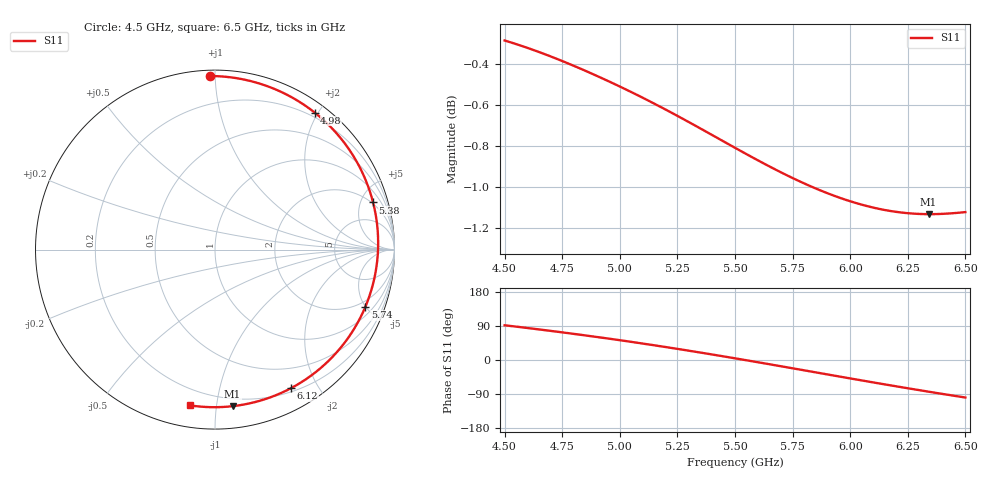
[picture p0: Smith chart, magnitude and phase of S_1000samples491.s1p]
! TOUCHSTONE file generated by CST MICROWAVE STUDIO
! Date and time: Fri Oct 28 08:32:47 2022
! Project name: L.cst
! Parameters = {Di=1.27; Epsilon_r=1.56; InnerDiameter=1.27; Length=2; Lf=10; Lg=60; OuterConductorThickness=0.2921; OuterDiameter=3.6; Wf=3; Wp=41.2; de=1.5; df=6.8; g=0.8; gx=4.95222; gy=2.29025; h=2.34; hf=1.524; px=8.59053; py=8.98075; w=9.7; wx=3.63831; wy=6.69051}
! Header version: 2018
! Port assignment regex: !\s*Touchstone port\s*([0-9]+)\s*=\s*(CST MWS port|CST DS port)\s*([0-9]+|Zmin|Zmax)\s*\(\"(.*)\"\)(\s*mode\s*([0-9]+))?.*
! Touchstone port assignment:
! Touchstone port 1 = CST MWS port 1 ("")
# GHz S DB R 50
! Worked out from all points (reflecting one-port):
!   101 points, 4.5 GHz to 6.5 GHz, reference 50 ohm
!   lowest |S11| = -1.1 dB at 6.34 GHz (marker M1), VSWR 15.38, Z = 7.28 - j55.4 ohm
!   phase of S11 starts at 92 deg and turns -191 deg over the sweep
!   S11 on the Smith chart (normalised r, x): 4.5 GHz: 0.03, +0.97; 4.98 GHz: 0.14, +1.96; 5.38 GHz: 1.87, +6.31; 5.74 GHz: 1.54, -4.99; 6.12 GHz: 0.24, -1.66; 6.5 GHz: 0.11, -0.85
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4.5  -0.29 91.6
4.64  -0.34 81.4
4.76  -0.39 72.1
4.88  -0.45 62.4
4.98  -0.50 54.0
5  -0.51 52.2
5.12  -0.58 41.5
5.2  -0.62 34.1
5.26  -0.66 28.4
5.32  -0.70 22.6
5.38  -0.73 16.6
5.44  -0.77 10.6
5.5  -0.81 4.4
5.56  -0.85 -1.8
5.62  -0.88 -8.1
5.68  -0.92 -14.4
5.74  -0.95 -20.8
5.76  -0.96 -23.0
5.82  -0.99 -29.4
5.88  -1.02 -35.8
6  -1.07 -48.6
6.06  -1.09 -54.9
6.12  -1.10 -61.2
6.18  -1.12 -67.4
6.26  -1.13 -75.6
6.34  -1.13 -83.6
6.42  -1.13 -91.4
6.5  -1.12 -99.0
